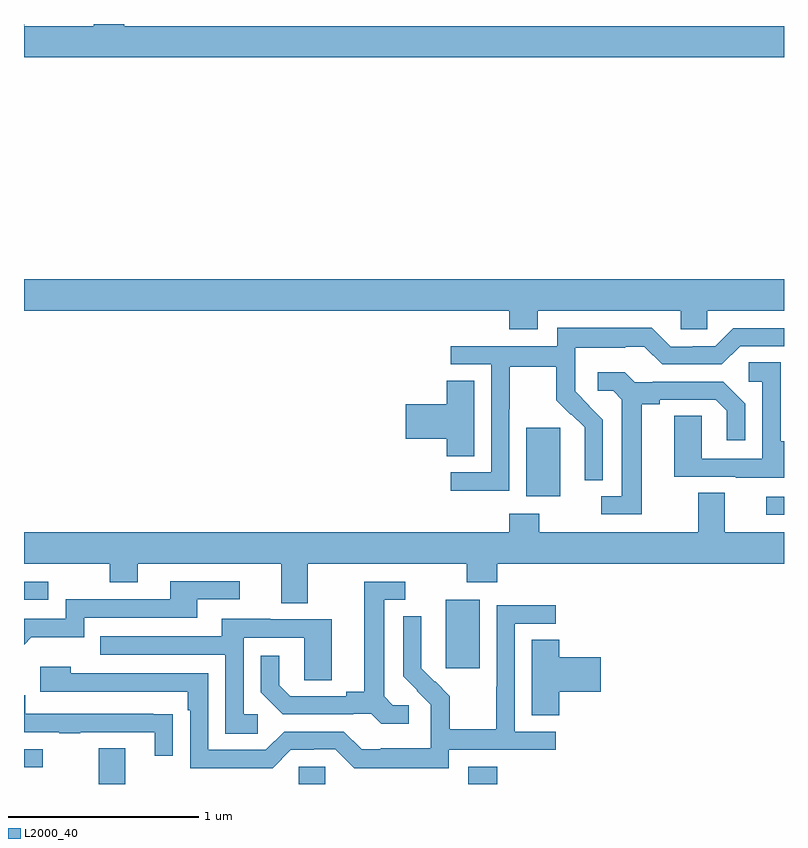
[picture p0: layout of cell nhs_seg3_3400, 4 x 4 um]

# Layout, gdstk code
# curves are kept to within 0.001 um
import gdstk
lib = gdstk.Library(unit=1e-6, precision=1e-09)
def R(c, l, rs):  # rectangles x0, y0, x1, y1
    for r in rs: c.add(gdstk.rectangle(r[:2], r[2:], *l))
def P(c, l, *ps):  # polygons
    for p in ps: c.add(gdstk.Polygon(p, *l))
L2000_40 = (2000, 40)

nhs_seg3_3400 = lib.new_cell('nhs_seg3_3400')
R(nhs_seg3_3400, L2000_40, [(287.393,722.4,287.533,722.587), (288.447,722.4,288.585,722.49), (289.337,722.4,289.49,722.491), (287,722.487,287.098,722.583), (289.22,723.009,289.399,723.37), (287,723.369,287.128,723.465), (290.907,723.816,291,723.912), (289.643,723.914,289.822,724.275)])
P(nhs_seg3_3400, L2000_40, [(291,726.388),(287.528,726.388),(287.528,726.4),(287.368,726.4),(287.368,726.388),(287.001,726.388),(287.001,726.4),(287,726.4),(287,726.224),(291,726.224)],
  [(289.705,724.892),(290.457,724.892),(290.457,724.794),(290.595,724.794),(290.595,724.892),(291,724.892),(291,725.056),(287,725.056),(287,724.892),(289.553,724.892),(289.553,724.793),(289.705,724.793)],
  [(289.554,724.372),(289.557,724.372),(289.557,724.596),(289.801,724.596),(289.801,724.421),(289.878,724.344),(289.881,724.347),(289.952,724.277),(289.952,724.154),(289.95,724.154),(289.95,724),(290.046,724),(290.046,724.318),(289.9,724.466),(289.9,724.563),(289.902,724.563),(289.902,724.697),(290.165,724.697),(290.165,724.701),(290.265,724.701),(290.358,724.608),(290.673,724.608),(290.769,724.704),(291,724.704),(291,724.8),(290.733,724.8),(290.637,724.704),(290.519,724.704),(290.519,724.701),(290.403,724.701),(290.303,724.801),(289.806,724.801),(289.806,724.704),(289.245,724.704),(289.245,724.608),(289.458,724.608),(289.458,724.041),(289.245,724.041),(289.245,723.943),(289.554,723.943)],
  [(291,724.203),(290.982,724.203),(290.982,724.619),(290.814,724.619),(290.814,724.518),(290.886,724.518),(290.886,724.113),(290.568,724.113),(290.568,724.337),(290.423,724.337),(290.423,724.017),(290.747,724.017),(290.747,724.013),(291,724.013)],
  [(290.251,724.4),(290.347,724.4),(290.347,724.422),(290.642,724.422),(290.699,724.365),(290.699,724.209),(290.796,724.209),(290.796,724.402),(290.68,724.518),(290.308,724.518),(290.308,724.515),(290.214,724.515),(290.162,724.567),(290.019,724.567),(290.019,724.47),(290.1,724.47),(290.147,724.423),(290.147,723.915),(290.037,723.915),(290.037,723.819),(290.251,723.819)],
  [(289.369,724.523),(289.226,724.523),(289.226,724.4),(289.008,724.4),(289.008,724.217),(289.226,724.217),(289.226,724.126),(289.369,724.126)],
  [(288.493,723.56),(289.33,723.56),(289.33,723.461),(289.49,723.461),(289.49,723.56),(291,723.56),(291,723.724),(290.689,723.724),(290.689,723.932),(290.549,723.932),(290.549,723.724),(289.713,723.724),(289.713,723.823),(289.553,723.823),(289.553,723.724),(287,723.724),(287,723.56),(287.452,723.56),(287.452,723.461),(287.599,723.461),(287.599,723.56),(288.353,723.56),(288.353,723.352),(288.493,723.352)],
  [(287.039,723.173),(287.316,723.173),(287.316,723.276),(287.911,723.276),(287.911,723.372),(288.136,723.372),(288.136,723.468),(287.771,723.468),(287.771,723.372),(287.22,723.372),(287.22,723.27),(287,723.27),(287,723.134)],
  [(289.024,722.814),(288.942,722.814),(288.895,722.861),(288.895,723.369),(289.006,723.369),(289.006,723.465),(288.791,723.465),(288.791,722.885),(288.695,722.885),(288.695,722.862),(288.4,722.862),(288.343,722.919),(288.343,723.076),(288.246,723.076),(288.246,722.882),(288.362,722.766),(288.734,722.766),(288.734,722.769),(288.828,722.769),(288.88,722.717),(289.024,722.717)],
  [(289.236,722.58),(289.798,722.58),(289.798,722.676),(289.584,722.676),(289.584,723.243),(289.798,723.243),(289.798,723.342),(289.488,723.342),(289.488,722.912),(289.486,722.912),(289.486,722.689),(289.241,722.689),(289.241,722.863),(289.164,722.94),(289.161,722.937),(289.091,723.008),(289.092,723.284),(288.996,723.284),(288.996,722.966),(289.142,722.818),(289.142,722.721),(289.14,722.721),(289.14,722.587),(288.877,722.587),(288.877,722.583),(288.777,722.583),(288.684,722.676),(288.369,722.676),(288.273,722.58),(287.97,722.58),(287.97,722.982),(287.246,722.982),(287.246,723.016),(287.085,723.016),(287.085,722.886),(287.861,722.886),(287.861,722.789),(287.874,722.789),(287.874,722.484),(288.309,722.484),(288.405,722.58),(288.524,722.58),(288.524,722.583),(288.639,722.583),(288.739,722.483),(289.236,722.483)],
  [(288.229,722.766),(288.156,722.766),(288.156,723.171),(288.474,723.171),(288.474,722.947),(288.619,722.947),(288.619,723.267),(288.295,723.267),(288.295,723.271),(288.041,723.271),(288.041,723.177),(287.401,723.177),(287.401,723.081),(288.06,723.081),(288.06,722.665),(288.229,722.665)],
  [(289.817,722.885),(290.035,722.885),(290.035,723.068),(289.817,723.068),(289.817,723.158),(289.673,723.158),(289.673,722.761),(289.817,722.761)],
  [(287.783,722.768),(287.681,722.768),(287.681,722.769),(287.006,722.769),(287.006,722.866),(287,722.866),(287,722.673),(287.185,722.673),(287.185,722.668),(287.297,722.668),(287.297,722.673),(287.687,722.673),(287.687,722.55),(287.783,722.55)])

lib.write_gds('nhs_seg3_3400.gds')
